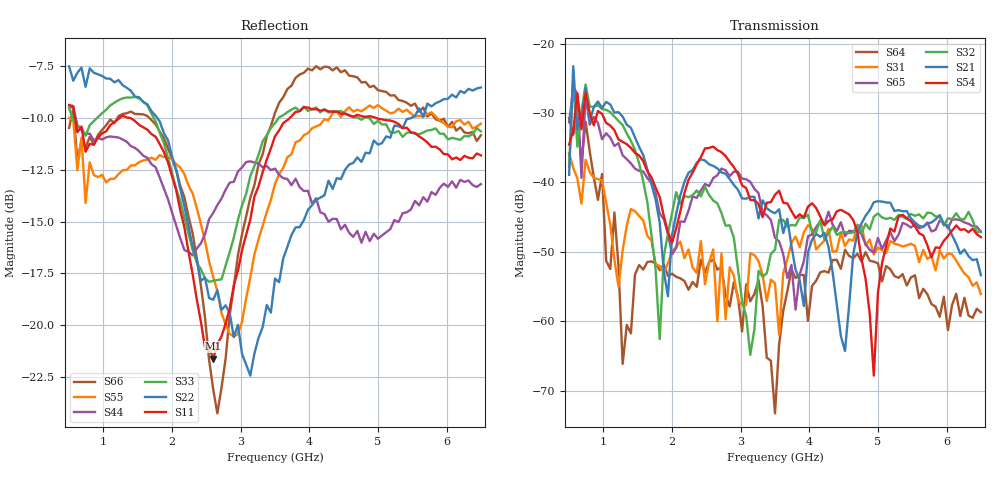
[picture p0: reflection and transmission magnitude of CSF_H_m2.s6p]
!Keysight Technologies,M9804A,MY58100912,A.14.10.03
!Date: Thursday, April 27, 2023 10:28:33
!Correction: S11(C  6-Port  )
!S12(C  6-Port  )
!S13(C  6-Port  )
!S14(C  6-Port  )
!S15(C  6-Port  )
!S16(C  6-Port  )
!S21(C  6-Port  )
!S22(C  6-Port  )
!S23(C  6-Port  )
!S24(C  6-Port  )
!S25(C  6-Port  )
!S26(C  6-Port  )
!S31(C  6-Port  )
!S32(C  6-Port  )
!S33(C  6-Port  )
!S34(C  6-Port  )
!S35(C  6-Port  )
!S36(C  6-Port  )
!S41(C  6-Port  )
!S42(C  6-Port  )
!S43(C  6-Port  )
!S44(C  6-Port  )
!S45(C  6-Port  )
!S46(C  6-Port  )
!S51(C  6-Port  )
!S52(C  6-Port  )
!S53(C  6-Port  )
!S54(C  6-Port  )
!S55(C  6-Port  )
!S56(C  6-Port  )
!S61(C  6-Port  )
!S62(C  6-Port  )
!S63(C  6-Port  )
!S64(C  6-Port  )
!S65(C  6-Port  )
!S66(C  6-Port  )
!S6P File: Measurement: :
# Hz S  RI  R 50
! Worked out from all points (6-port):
!   101 points, 500 MHz to 6.5 GHz, reference 50 ohm
!   strongest paths, dB at 500 MHz, 2 GHz, 3.5 GHz, 5 GHz, 6.5 GHz:
!     S54: -34.5, -48.7, -41.8, -55.9, -47.9
!     S21: -38.9, -47.6, -44.4, -42.7, -53.4
!     S32: -37.7, -44.4, -49.7, -44.5, -47.1
!     S65: -31.3, -50.4, -48.0, -48.0, -47.1
!     S31: -35.8, -50.0, -54.6, -49.4, -56.1
!     S64: -30.8, -53.2, -73.3, -51.7, -58.7
!   lowest |S11| = -21.6 dB at 2.6 GHz (marker M1), VSWR 1.18, Z = 42.6 + j2.03 ohm
!   |S11| at or under -10 dB: 587.2 MHz to 1.238 GHz (651.2 MHz wide, 71.3 % of centre); 1.386 GHz to 3.715 GHz (2.329 GHz wide, 91.3 % of centre); 4.97 GHz to end of sweep
